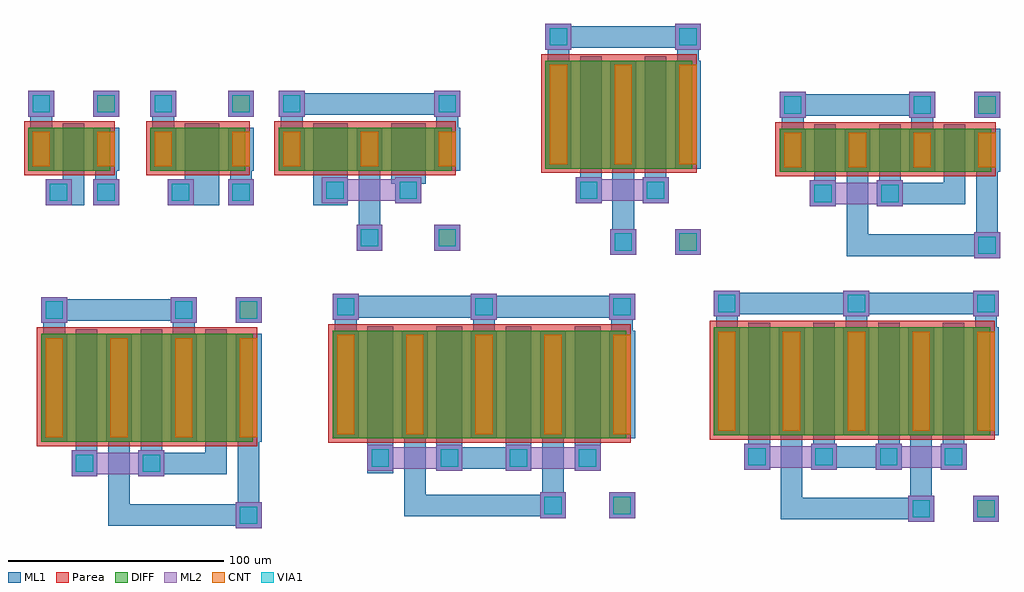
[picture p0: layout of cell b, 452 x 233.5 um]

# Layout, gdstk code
import gdstk
lib = gdstk.Library(unit=1e-6, precision=1e-09)
def R(c, l, rs):  # rectangles x0, y0, x1, y1
    for r in rs: c.add(gdstk.rectangle(r[:2], r[2:], *l))
def A(c, l, x, y, w, h, nx, ny, dx, dy):  # array of equal rectangles
    R(c, l, [(x+i*dx, y+j*dy, x+i*dx+w, y+j*dy+h) for i in range(nx) for j in range(ny)])
DIFF = (3, 0)
CNT = (7, 0)
ML1 = (8, 0)
VIA1 = (9, 0)
ML2 = (10, 0)
Parea = (18, 0)

pch_7 = lib.new_cell('Pch$7')
R(pch_7, DIFF, [(0,16,44,36)])
R(pch_7, CNT, [(38,43,46,51)])
R(pch_7, ML1, [(8,0,20,12), (36,0,48,12), (0,41,12,53), (36,41,48,53), (36,41,48,53)])
R(pch_7, VIA1, [(10,2,18,10), (38,2,46,10), (2,43,10,51), (38,43,46,51)])
R(pch_7, ML2, [(8,0,20,12), (36,0,48,12), (0,41,12,53), (36,41,48,53)])
R(pch_7, Parea, [(-2,14,46,39)])
pch_7.add(gdstk.FlexPath([(6,16),(6,36)], 8, ends=(-2, -2), simple_path=True, layer=7, datatype=0))  # CNT
pch_7.add(gdstk.FlexPath([(42,16),(42,36)], 8, ends=(-2, -2), simple_path=True, layer=7, datatype=0))  # CNT
pch_7.add(gdstk.FlexPath([(6,16),(6,36)], 12, ends="flush", simple_path=True, layer=8, datatype=0))  # ML1
pch_7.add(gdstk.FlexPath([(24,6),(24,36)], 16, ends=(6, 2), simple_path=True, layer=8, datatype=0))  # ML1
pch_7.add(gdstk.FlexPath([(42,16),(42,36)], 12, ends="flush", simple_path=True, layer=8, datatype=0))  # ML1
pch_7.add(gdstk.FlexPath([(6,37),(6,47)], 10, ends="extended", simple_path=True, layer=8, datatype=0))  # ML1
pch_7.add(gdstk.FlexPath([(42,10),(42,14)], 10, ends="extended", simple_path=True, layer=8, datatype=0))  # ML1

pch_2 = lib.new_cell('Pch$2')
R(pch_2, DIFF, [(0,16,98,66)])
R(pch_2, CNT, [(92,73,100,81)])
R(pch_2, ML1, [(90,-24,102,-12), (14,0,26,12), (45,0,57,12), (0,71,12,83), (60,71,72,83), (90,71,102,83), (90,71,102,83)])
R(pch_2, VIA1, [(92,-22,100,-14), (16,2,24,10), (47,2,55,10), (2,73,10,81), (62,73,70,81), (92,73,100,81)])
R(pch_2, ML2, [(90,-24,102,-12), (14,0,26,12), (45,0,57,12), (0,71,12,83), (60,71,72,83), (90,71,102,83)])
R(pch_2, Parea, [(-2,14,100,69)])
pch_2.add(gdstk.FlexPath([(6,16),(6,66)], 8, ends=(-2, -2), simple_path=True, layer=7, datatype=0))  # CNT
pch_2.add(gdstk.FlexPath([(36,16),(36,66)], 8, ends=(-2, -2), simple_path=True, layer=7, datatype=0))  # CNT
pch_2.add(gdstk.FlexPath([(66,16),(66,66)], 8, ends=(-2, -2), simple_path=True, layer=7, datatype=0))  # CNT
pch_2.add(gdstk.FlexPath([(96,16),(96,66)], 8, ends=(-2, -2), simple_path=True, layer=7, datatype=0))  # CNT
pch_2.add(gdstk.FlexPath([(6,16),(6,66)], 12, ends="flush", simple_path=True, layer=8, datatype=0))  # ML1
pch_2.add(gdstk.FlexPath([(21,6),(21,66)], 10, ends=(6, 2), simple_path=True, layer=8, datatype=0))  # ML1
pch_2.add(gdstk.FlexPath([(36,16),(36,66)], 12, ends="flush", simple_path=True, layer=8, datatype=0))  # ML1
pch_2.add(gdstk.FlexPath([(51,16),(51,66)], 10, ends=(6, 2), simple_path=True, layer=8, datatype=0))  # ML1
pch_2.add(gdstk.FlexPath([(66,16),(66,66)], 12, ends="flush", simple_path=True, layer=8, datatype=0))  # ML1
pch_2.add(gdstk.FlexPath([(81,16),(81,66)], 10, ends=(6, 2), simple_path=True, layer=8, datatype=0))  # ML1
pch_2.add(gdstk.FlexPath([(47,6),(86,6)], 10, ends="flush", simple_path=True, layer=8, datatype=0))  # ML1
pch_2.add(gdstk.FlexPath([(96,16),(96,66)], 12, ends="flush", simple_path=True, layer=8, datatype=0))  # ML1
pch_2.add(gdstk.FlexPath([(6,67),(6,77)], 10, ends="extended", simple_path=True, layer=8, datatype=0))  # ML1
pch_2.add(gdstk.FlexPath([(36,-14),(36,14)], 10, ends="extended", simple_path=True, layer=8, datatype=0))  # ML1
pch_2.add(gdstk.FlexPath([(66,67),(66,77)], 10, ends="extended", simple_path=True, layer=8, datatype=0))  # ML1
pch_2.add(gdstk.FlexPath([(6,77),(66,77)], 10, ends="extended", simple_path=True, layer=8, datatype=0))  # ML1
pch_2.add(gdstk.FlexPath([(96,-14),(96,14)], 10, ends="extended", simple_path=True, layer=8, datatype=0))  # ML1
pch_2.add(gdstk.FlexPath([(36,-18),(96,-18)], 10, ends="extended", simple_path=True, layer=8, datatype=0))  # ML1
pch_2.add(gdstk.FlexPath([(17,6),(51,6)], 10, ends="flush", simple_path=True, layer=10, datatype=0))  # ML2

pch_1 = lib.new_cell('Pch$1')
R(pch_1, DIFF, [(0,16,68,66)])
R(pch_1, CNT, [(62,-22,70,-14)])
R(pch_1, ML1, [(30,-24,42,-12), (60,-24,72,-12), (60,-24,72,-12), (14,0,26,12), (45,0,57,12), (0,71,12,83), (60,71,72,83)])
R(pch_1, VIA1, [(32,-22,40,-14), (62,-22,70,-14), (16,2,24,10), (47,2,55,10), (2,73,10,81), (62,73,70,81)])
R(pch_1, ML2, [(30,-24,42,-12), (60,-24,72,-12), (14,0,26,12), (45,0,57,12), (0,71,12,83), (60,71,72,83)])
R(pch_1, Parea, [(-2,14,70,69)])
pch_1.add(gdstk.FlexPath([(6,16),(6,66)], 8, ends=(-2, -2), simple_path=True, layer=7, datatype=0))  # CNT
pch_1.add(gdstk.FlexPath([(36,16),(36,66)], 8, ends=(-2, -2), simple_path=True, layer=7, datatype=0))  # CNT
pch_1.add(gdstk.FlexPath([(66,16),(66,66)], 8, ends=(-2, -2), simple_path=True, layer=7, datatype=0))  # CNT
pch_1.add(gdstk.FlexPath([(6,16),(6,66)], 12, ends="flush", simple_path=True, layer=8, datatype=0))  # ML1
pch_1.add(gdstk.FlexPath([(21,6),(21,66)], 10, ends=(6, 2), simple_path=True, layer=8, datatype=0))  # ML1
pch_1.add(gdstk.FlexPath([(36,16),(36,66)], 12, ends="flush", simple_path=True, layer=8, datatype=0))  # ML1
pch_1.add(gdstk.FlexPath([(51,16),(51,66)], 10, ends=(6, 2), simple_path=True, layer=8, datatype=0))  # ML1
pch_1.add(gdstk.FlexPath([(66,16),(66,66)], 12, ends="flush", simple_path=True, layer=8, datatype=0))  # ML1
pch_1.add(gdstk.FlexPath([(6,67),(6,77)], 10, ends="extended", simple_path=True, layer=8, datatype=0))  # ML1
pch_1.add(gdstk.FlexPath([(36,-14),(36,14)], 10, ends="extended", simple_path=True, layer=8, datatype=0))  # ML1
pch_1.add(gdstk.FlexPath([(66,67),(66,77)], 10, ends="extended", simple_path=True, layer=8, datatype=0))  # ML1
pch_1.add(gdstk.FlexPath([(6,77),(66,77)], 10, ends="extended", simple_path=True, layer=8, datatype=0))  # ML1
pch_1.add(gdstk.FlexPath([(17,6),(51,6)], 10, ends="flush", simple_path=True, layer=10, datatype=0))  # ML2

pch_6 = lib.new_cell('Pch$6')
R(pch_6, DIFF, [(0,16,136,66)])
R(pch_6, CNT, [(130,-19,138,-11)])
A(pch_6, ML1, 16, 1, 12, 12, 4, 1, 32, 0)
A(pch_6, ML1, 0, 71, 12, 12, 3, 1, 64, 0)
R(pch_6, ML1, [(96,-21,108,-9), (128,-21,140,-9), (128,-21,140,-9)])
A(pch_6, VIA1, 18, 3, 8, 8, 4, 1, 32, 0)
A(pch_6, VIA1, 2, 73, 8, 8, 3, 1, 64, 0)
R(pch_6, VIA1, [(98,-19,106,-11), (130,-19,138,-11)])
A(pch_6, ML2, 16, 1, 12, 12, 4, 1, 32, 0)
A(pch_6, ML2, 0, 71, 12, 12, 3, 1, 64, 0)
R(pch_6, ML2, [(96,-21,108,-9), (128,-21,140,-9)])
R(pch_6, Parea, [(-2,14,138,69)])
pch_6.add(gdstk.FlexPath([(6,16),(6,66)], 8, ends=(-2, -2), simple_path=True, layer=7, datatype=0))  # CNT
pch_6.add(gdstk.FlexPath([(38,16),(38,66)], 8, ends=(-2, -2), simple_path=True, layer=7, datatype=0))  # CNT
pch_6.add(gdstk.FlexPath([(70,16),(70,66)], 8, ends=(-2, -2), simple_path=True, layer=7, datatype=0))  # CNT
pch_6.add(gdstk.FlexPath([(102,16),(102,66)], 8, ends=(-2, -2), simple_path=True, layer=7, datatype=0))  # CNT
pch_6.add(gdstk.FlexPath([(134,16),(134,66)], 8, ends=(-2, -2), simple_path=True, layer=7, datatype=0))  # CNT
pch_6.add(gdstk.FlexPath([(6,16),(6,66)], 12, ends="flush", simple_path=True, layer=8, datatype=0))  # ML1
pch_6.add(gdstk.FlexPath([(22,6),(22,66)], 12, ends=(6, 2), simple_path=True, layer=8, datatype=0))  # ML1
pch_6.add(gdstk.FlexPath([(38,16),(38,66)], 12, ends="flush", simple_path=True, layer=8, datatype=0))  # ML1
pch_6.add(gdstk.FlexPath([(54,16),(54,66)], 12, ends=(6, 2), simple_path=True, layer=8, datatype=0))  # ML1
pch_6.add(gdstk.FlexPath([(70,16),(70,66)], 12, ends="flush", simple_path=True, layer=8, datatype=0))  # ML1
pch_6.add(gdstk.FlexPath([(86,16),(86,66)], 12, ends=(6, 2), simple_path=True, layer=8, datatype=0))  # ML1
pch_6.add(gdstk.FlexPath([(50,7),(92,7)], 10, ends="flush", simple_path=True, layer=8, datatype=0))  # ML1
pch_6.add(gdstk.FlexPath([(102,16),(102,66)], 12, ends="flush", simple_path=True, layer=8, datatype=0))  # ML1
pch_6.add(gdstk.FlexPath([(118,16),(118,66)], 12, ends=(6, 2), simple_path=True, layer=8, datatype=0))  # ML1
pch_6.add(gdstk.FlexPath([(134,16),(134,66)], 12, ends="flush", simple_path=True, layer=8, datatype=0))  # ML1
pch_6.add(gdstk.FlexPath([(6,67),(6,77)], 10, ends="extended", simple_path=True, layer=8, datatype=0))  # ML1
pch_6.add(gdstk.FlexPath([(38,-11),(38,14)], 10, ends="extended", simple_path=True, layer=8, datatype=0))  # ML1
pch_6.add(gdstk.FlexPath([(70,67),(70,77)], 10, ends="extended", simple_path=True, layer=8, datatype=0))  # ML1
pch_6.add(gdstk.FlexPath([(6,77),(70,77)], 10, ends="extended", simple_path=True, layer=8, datatype=0))  # ML1
pch_6.add(gdstk.FlexPath([(102,-11),(102,14)], 10, ends="extended", simple_path=True, layer=8, datatype=0))  # ML1
pch_6.add(gdstk.FlexPath([(38,-15),(102,-15)], 10, ends="extended", simple_path=True, layer=8, datatype=0))  # ML1
pch_6.add(gdstk.FlexPath([(134,67),(134,77)], 10, ends="extended", simple_path=True, layer=8, datatype=0))  # ML1
pch_6.add(gdstk.FlexPath([(70,77),(134,77)], 10, ends="extended", simple_path=True, layer=8, datatype=0))  # ML1
pch_6.add(gdstk.FlexPath([(18,7),(54,7)], 10, ends="flush", simple_path=True, layer=10, datatype=0))  # ML2
pch_6.add(gdstk.FlexPath([(82,7),(118,7)], 10, ends="flush", simple_path=True, layer=10, datatype=0))  # ML2

pch = lib.new_cell('Pch')
R(pch, DIFF, [(0,16,80,36)])
R(pch, CNT, [(74,-19,82,-11)])
R(pch, ML1, [(36,-21,48,-9), (72,-21,84,-9), (72,-21,84,-9), (20,1,32,13), (54,1,66,13), (0,41,12,53), (72,41,84,53)])
R(pch, VIA1, [(38,-19,46,-11), (74,-19,82,-11), (22,3,30,11), (56,3,64,11), (2,43,10,51), (74,43,82,51)])
R(pch, ML2, [(36,-21,48,-9), (72,-21,84,-9), (20,1,32,13), (54,1,66,13), (0,41,12,53), (72,41,84,53)])
R(pch, Parea, [(-2,14,82,39)])
pch.add(gdstk.FlexPath([(6,16),(6,36)], 8, ends=(-2, -2), simple_path=True, layer=7, datatype=0))  # CNT
pch.add(gdstk.FlexPath([(42,16),(42,36)], 8, ends=(-2, -2), simple_path=True, layer=7, datatype=0))  # CNT
pch.add(gdstk.FlexPath([(78,16),(78,36)], 8, ends=(-2, -2), simple_path=True, layer=7, datatype=0))  # CNT
pch.add(gdstk.FlexPath([(6,16),(6,36)], 12, ends="flush", simple_path=True, layer=8, datatype=0))  # ML1
pch.add(gdstk.FlexPath([(24,6),(24,36)], 16, ends=(6, 2), simple_path=True, layer=8, datatype=0))  # ML1
pch.add(gdstk.FlexPath([(42,16),(42,36)], 12, ends="flush", simple_path=True, layer=8, datatype=0))  # ML1
pch.add(gdstk.FlexPath([(60,16),(60,36)], 16, ends=(6, 2), simple_path=True, layer=8, datatype=0))  # ML1
pch.add(gdstk.FlexPath([(78,16),(78,36)], 12, ends="flush", simple_path=True, layer=8, datatype=0))  # ML1
pch.add(gdstk.FlexPath([(6,37),(6,47)], 10, ends="extended", simple_path=True, layer=8, datatype=0))  # ML1
pch.add(gdstk.FlexPath([(42,-11),(42,14)], 10, ends="extended", simple_path=True, layer=8, datatype=0))  # ML1
pch.add(gdstk.FlexPath([(78,37),(78,47)], 10, ends="extended", simple_path=True, layer=8, datatype=0))  # ML1
pch.add(gdstk.FlexPath([(6,47),(78,47)], 10, ends="extended", simple_path=True, layer=8, datatype=0))  # ML1
pch.add(gdstk.FlexPath([(20,7),(60,7)], 10, ends="flush", simple_path=True, layer=10, datatype=0))  # ML2

pch_5 = lib.new_cell('Pch$5')
R(pch_5, DIFF, [(0,16,98,36)])
R(pch_5, CNT, [(92,43,100,51)])
R(pch_5, ML1, [(90,-24,102,-12), (14,0,26,12), (45,0,57,12), (0,41,12,53), (60,41,72,53), (90,41,102,53), (90,41,102,53)])
R(pch_5, VIA1, [(92,-22,100,-14), (16,2,24,10), (47,2,55,10), (2,43,10,51), (62,43,70,51), (92,43,100,51)])
R(pch_5, ML2, [(90,-24,102,-12), (14,0,26,12), (45,0,57,12), (0,41,12,53), (60,41,72,53), (90,41,102,53)])
R(pch_5, Parea, [(-2,14,100,39)])
pch_5.add(gdstk.FlexPath([(6,16),(6,36)], 8, ends=(-2, -2), simple_path=True, layer=7, datatype=0))  # CNT
pch_5.add(gdstk.FlexPath([(36,16),(36,36)], 8, ends=(-2, -2), simple_path=True, layer=7, datatype=0))  # CNT
pch_5.add(gdstk.FlexPath([(66,16),(66,36)], 8, ends=(-2, -2), simple_path=True, layer=7, datatype=0))  # CNT
pch_5.add(gdstk.FlexPath([(96,16),(96,36)], 8, ends=(-2, -2), simple_path=True, layer=7, datatype=0))  # CNT
pch_5.add(gdstk.FlexPath([(6,16),(6,36)], 12, ends="flush", simple_path=True, layer=8, datatype=0))  # ML1
pch_5.add(gdstk.FlexPath([(21,6),(21,36)], 10, ends=(6, 2), simple_path=True, layer=8, datatype=0))  # ML1
pch_5.add(gdstk.FlexPath([(36,16),(36,36)], 12, ends="flush", simple_path=True, layer=8, datatype=0))  # ML1
pch_5.add(gdstk.FlexPath([(51,16),(51,36)], 10, ends=(6, 2), simple_path=True, layer=8, datatype=0))  # ML1
pch_5.add(gdstk.FlexPath([(66,16),(66,36)], 12, ends="flush", simple_path=True, layer=8, datatype=0))  # ML1
pch_5.add(gdstk.FlexPath([(81,16),(81,36)], 10, ends=(6, 2), simple_path=True, layer=8, datatype=0))  # ML1
pch_5.add(gdstk.FlexPath([(47,6),(86,6)], 10, ends="flush", simple_path=True, layer=8, datatype=0))  # ML1
pch_5.add(gdstk.FlexPath([(96,16),(96,36)], 12, ends="flush", simple_path=True, layer=8, datatype=0))  # ML1
pch_5.add(gdstk.FlexPath([(6,37),(6,47)], 10, ends="extended", simple_path=True, layer=8, datatype=0))  # ML1
pch_5.add(gdstk.FlexPath([(36,-14),(36,14)], 10, ends="extended", simple_path=True, layer=8, datatype=0))  # ML1
pch_5.add(gdstk.FlexPath([(66,37),(66,47)], 10, ends="extended", simple_path=True, layer=8, datatype=0))  # ML1
pch_5.add(gdstk.FlexPath([(6,47),(66,47)], 10, ends="extended", simple_path=True, layer=8, datatype=0))  # ML1
pch_5.add(gdstk.FlexPath([(96,-14),(96,14)], 10, ends="extended", simple_path=True, layer=8, datatype=0))  # ML1
pch_5.add(gdstk.FlexPath([(36,-18),(96,-18)], 10, ends="extended", simple_path=True, layer=8, datatype=0))  # ML1
pch_5.add(gdstk.FlexPath([(17,6),(51,6)], 10, ends="flush", simple_path=True, layer=10, datatype=0))  # ML2

pch_3 = lib.new_cell('Pch$3')
R(pch_3, DIFF, [(0,16,128,66)])
R(pch_3, CNT, [(122,-22,130,-14)])
A(pch_3, ML1, 45, 0, 12, 12, 3, 1, 30, 0)
A(pch_3, ML1, 0, 71, 12, 12, 3, 1, 60, 0)
R(pch_3, ML1, [(90,-24,102,-12), (120,-24,132,-12), (120,-24,132,-12), (14,0,26,12)])
A(pch_3, VIA1, 47, 2, 8, 8, 3, 1, 30, 0)
A(pch_3, VIA1, 2, 73, 8, 8, 3, 1, 60, 0)
R(pch_3, VIA1, [(92,-22,100,-14), (122,-22,130,-14), (16,2,24,10)])
A(pch_3, ML2, 45, 0, 12, 12, 3, 1, 30, 0)
A(pch_3, ML2, 0, 71, 12, 12, 3, 1, 60, 0)
R(pch_3, ML2, [(90,-24,102,-12), (120,-24,132,-12), (14,0,26,12)])
R(pch_3, Parea, [(-2,14,130,69)])
pch_3.add(gdstk.FlexPath([(6,16),(6,66)], 8, ends=(-2, -2), simple_path=True, layer=7, datatype=0))  # CNT
pch_3.add(gdstk.FlexPath([(36,16),(36,66)], 8, ends=(-2, -2), simple_path=True, layer=7, datatype=0))  # CNT
pch_3.add(gdstk.FlexPath([(66,16),(66,66)], 8, ends=(-2, -2), simple_path=True, layer=7, datatype=0))  # CNT
pch_3.add(gdstk.FlexPath([(96,16),(96,66)], 8, ends=(-2, -2), simple_path=True, layer=7, datatype=0))  # CNT
pch_3.add(gdstk.FlexPath([(126,16),(126,66)], 8, ends=(-2, -2), simple_path=True, layer=7, datatype=0))  # CNT
pch_3.add(gdstk.FlexPath([(6,16),(6,66)], 12, ends="flush", simple_path=True, layer=8, datatype=0))  # ML1
pch_3.add(gdstk.FlexPath([(21,6),(21,66)], 10, ends=(6, 2), simple_path=True, layer=8, datatype=0))  # ML1
pch_3.add(gdstk.FlexPath([(36,16),(36,66)], 12, ends="flush", simple_path=True, layer=8, datatype=0))  # ML1
pch_3.add(gdstk.FlexPath([(51,16),(51,66)], 10, ends=(6, 2), simple_path=True, layer=8, datatype=0))  # ML1
pch_3.add(gdstk.FlexPath([(66,16),(66,66)], 12, ends="flush", simple_path=True, layer=8, datatype=0))  # ML1
pch_3.add(gdstk.FlexPath([(81,16),(81,66)], 10, ends=(6, 2), simple_path=True, layer=8, datatype=0))  # ML1
pch_3.add(gdstk.FlexPath([(47,6),(86,6)], 10, ends="flush", simple_path=True, layer=8, datatype=0))  # ML1
pch_3.add(gdstk.FlexPath([(96,16),(96,66)], 12, ends="flush", simple_path=True, layer=8, datatype=0))  # ML1
pch_3.add(gdstk.FlexPath([(111,16),(111,66)], 10, ends=(6, 2), simple_path=True, layer=8, datatype=0))  # ML1
pch_3.add(gdstk.FlexPath([(126,16),(126,66)], 12, ends="flush", simple_path=True, layer=8, datatype=0))  # ML1
pch_3.add(gdstk.FlexPath([(6,67),(6,77)], 10, ends="extended", simple_path=True, layer=8, datatype=0))  # ML1
pch_3.add(gdstk.FlexPath([(36,-14),(36,14)], 10, ends="extended", simple_path=True, layer=8, datatype=0))  # ML1
pch_3.add(gdstk.FlexPath([(66,67),(66,77)], 10, ends="extended", simple_path=True, layer=8, datatype=0))  # ML1
pch_3.add(gdstk.FlexPath([(6,77),(66,77)], 10, ends="extended", simple_path=True, layer=8, datatype=0))  # ML1
pch_3.add(gdstk.FlexPath([(96,-14),(96,14)], 10, ends="extended", simple_path=True, layer=8, datatype=0))  # ML1
pch_3.add(gdstk.FlexPath([(36,-18),(96,-18)], 10, ends="extended", simple_path=True, layer=8, datatype=0))  # ML1
pch_3.add(gdstk.FlexPath([(126,67),(126,77)], 10, ends="extended", simple_path=True, layer=8, datatype=0))  # ML1
pch_3.add(gdstk.FlexPath([(66,77),(126,77)], 10, ends="extended", simple_path=True, layer=8, datatype=0))  # ML1
pch_3.add(gdstk.FlexPath([(17,6),(51,6)], 10, ends="flush", simple_path=True, layer=10, datatype=0))  # ML2
pch_3.add(gdstk.FlexPath([(77,6),(111,6)], 10, ends="flush", simple_path=True, layer=10, datatype=0))  # ML2

pch_4 = lib.new_cell('Pch$4')
R(pch_4, DIFF, [(0,16,38,36)])
R(pch_4, CNT, [(32,43,40,51)])
R(pch_4, ML1, [(8,0,20,12), (30,0,42,12), (0,41,12,53), (30,41,42,53), (30,41,42,53)])
R(pch_4, VIA1, [(10,2,18,10), (32,2,40,10), (2,43,10,51), (32,43,40,51)])
R(pch_4, ML2, [(8,0,20,12), (30,0,42,12), (0,41,12,53), (30,41,42,53)])
R(pch_4, Parea, [(-2,14,40,39)])
pch_4.add(gdstk.FlexPath([(6,16),(6,36)], 8, ends=(-2, -2), simple_path=True, layer=7, datatype=0))  # CNT
pch_4.add(gdstk.FlexPath([(36,16),(36,36)], 8, ends=(-2, -2), simple_path=True, layer=7, datatype=0))  # CNT
pch_4.add(gdstk.FlexPath([(6,16),(6,36)], 12, ends="flush", simple_path=True, layer=8, datatype=0))  # ML1
pch_4.add(gdstk.FlexPath([(21,6),(21,36)], 10, ends=(6, 2), simple_path=True, layer=8, datatype=0))  # ML1
pch_4.add(gdstk.FlexPath([(36,16),(36,36)], 12, ends="flush", simple_path=True, layer=8, datatype=0))  # ML1
pch_4.add(gdstk.FlexPath([(6,37),(6,47)], 10, ends="extended", simple_path=True, layer=8, datatype=0))  # ML1
pch_4.add(gdstk.FlexPath([(36,10),(36,14)], 10, ends="extended", simple_path=True, layer=8, datatype=0))  # ML1

c_b = lib.new_cell('b')
c_b.add(gdstk.Reference(pch_7, (-33,-22)))
c_b.add(gdstk.Reference(pch_2, (-83.5,-147.5)))
c_b.add(gdstk.Reference(pch_1, (150,-21)))
c_b.add(gdstk.Reference(pch_6, (51.5,-146)))
c_b.add(gdstk.Reference(pch, (26.5,-22)))
c_b.add(gdstk.Reference(pch_5, (258.5,-22.5)))
c_b.add(gdstk.Reference(pch_3, (228,-144.5)))
c_b.add(gdstk.Reference(pch_4, (-89.5,-22)))

lib.write_gds('b.gds')
